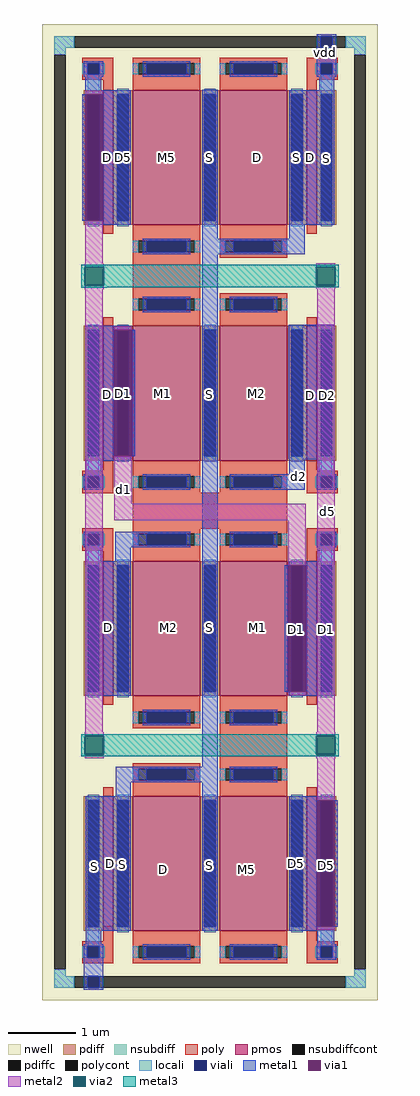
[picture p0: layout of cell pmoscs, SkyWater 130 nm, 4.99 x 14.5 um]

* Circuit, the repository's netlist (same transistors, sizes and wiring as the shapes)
** sch_path: /home/riff/mbkm-polytron/opamp/mag/pmoscs.sch
.subckt pmoscs VDD D5 D2 D1
*.PININFO VDD:B D5:B D2:B D1:B
XM5 D5 D2 VDD VDD sky130_fd_pr__pfet_01v8 L=1 W=2 nf=1 m=2
XM2 D2 D2 VDD VDD sky130_fd_pr__pfet_01v8 L=1 W=2 nf=1 m=2
XM1 D1 D2 VDD VDD sky130_fd_pr__pfet_01v8 L=1 W=2 nf=1 m=2
XM3 VDD VDD VDD VDD sky130_fd_pr__pfet_01v8 L=1 W=2 nf=1 m=2
XM4 VDD VDD VDD VDD sky130_fd_pr__pfet_01v8 L=0.15 W=2 nf=1 m=2
XM6 D1 D1 D1 VDD sky130_fd_pr__pfet_01v8 L=0.15 W=2 nf=1 m=2
XM7 D2 D2 D2 VDD sky130_fd_pr__pfet_01v8 L=0.15 W=2 nf=1 m=2
XM8 D5 D5 D5 VDD sky130_fd_pr__pfet_01v8 L=0.15 W=2 nf=1 m=2
.ends
.end

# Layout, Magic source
magic
tech sky130A
magscale 1 2
<< nwell >>
rect -178 -740 820 2160
<< nsubdiff >>
rect -142 2090 -82 2124
rect 724 2090 784 2124
rect -142 2068 -108 2090
rect 750 2068 784 2090
rect -142 -670 -108 -648
rect 750 -670 784 -648
rect -142 -704 -82 -670
rect 724 -704 784 -670
<< nsubdiffcont >>
rect -82 2090 724 2124
rect -142 -648 -108 2068
rect 750 -648 784 2068
rect -82 -704 724 -670
<< poly >>
rect -58 2044 34 2060
rect -58 2010 -42 2044
rect -8 2010 34 2044
rect -58 1994 34 2010
rect 4 1963 34 1994
rect 608 2044 700 2060
rect 608 2010 650 2044
rect 684 2010 700 2044
rect 608 1994 700 2010
rect 608 1969 638 1994
rect 92 1359 292 1467
rect 4 832 34 852
rect -58 816 34 832
rect -58 782 -42 816
rect -8 782 34 816
rect -58 766 34 782
rect 608 832 638 863
rect 608 816 700 832
rect 608 782 650 816
rect 684 782 700 816
rect 350 767 550 768
rect -58 645 34 661
rect 92 660 550 767
rect 608 766 700 782
rect 92 659 292 660
rect -58 611 -42 645
rect -8 611 34 645
rect -58 595 34 611
rect 4 564 34 595
rect 608 645 700 661
rect 608 611 650 645
rect 684 611 700 645
rect 608 595 700 611
rect 608 564 638 595
rect 350 -37 550 67
rect 4 -565 34 -520
rect -58 -581 34 -565
rect -58 -615 -42 -581
rect -8 -615 34 -581
rect -58 -631 34 -615
rect 608 -565 638 -560
rect 608 -581 700 -565
rect 608 -615 650 -581
rect 684 -615 700 -581
rect 608 -631 700 -615
<< polycont >>
rect -42 2010 -8 2044
rect 650 2010 684 2044
rect -42 782 -8 816
rect 650 782 684 816
rect -42 611 -8 645
rect 650 611 684 645
rect -42 -615 -8 -581
rect 650 -615 684 -581
<< locali >>
rect -142 2090 -82 2124
rect 724 2090 784 2124
rect -142 2068 -108 2090
rect 750 2068 784 2090
rect -58 2010 -42 2044
rect -8 2010 8 2044
rect 634 2010 650 2044
rect 684 2010 700 2044
rect -42 1963 -8 2010
rect 650 1966 684 2010
rect -42 816 -8 876
rect 650 816 684 863
rect -58 782 -42 816
rect -8 782 8 816
rect 634 782 650 816
rect 684 782 700 816
rect -58 611 -42 645
rect -8 611 8 645
rect 634 611 650 645
rect 684 611 700 645
rect -42 565 -8 611
rect 650 564 684 611
rect -42 -581 -8 -521
rect 650 -581 684 -535
rect -58 -615 -43 -581
rect -8 -615 8 -581
rect 634 -615 650 -581
rect 684 -615 700 -581
rect -142 -670 -108 -648
rect 750 -670 784 -648
rect -142 -704 -82 -670
rect 724 -704 784 -670
<< viali >>
rect 650 2090 684 2124
rect -42 2010 -8 2044
rect 650 2010 684 2044
rect -42 782 -8 816
rect 650 782 684 816
rect -42 611 -8 645
rect 650 611 684 645
rect -43 -615 -42 -581
rect -42 -615 -9 -581
rect 650 -615 684 -581
rect -42 -704 -8 -670
<< metal1 >>
rect 638 2124 696 2130
rect 638 2090 650 2124
rect 684 2090 696 2124
rect -54 2044 4 2050
rect -54 2010 -42 2044
rect -8 2010 4 2044
rect -54 2004 4 2010
rect 638 2044 696 2090
rect 638 2010 650 2044
rect 684 2010 696 2044
rect 638 2004 696 2010
rect -49 1963 -2 2004
rect -49 1951 86 1963
rect -59 1575 -49 1951
rect 3 1575 86 1951
rect -48 1563 86 1575
rect 298 1522 344 1964
rect 645 1963 690 2004
rect 556 1563 690 1963
rect 556 1522 602 1563
rect 298 1476 384 1522
rect 521 1476 602 1522
rect -48 1252 86 1263
rect -48 876 36 1252
rect 88 876 98 1252
rect -48 863 86 876
rect -48 822 -2 863
rect -54 816 4 822
rect -54 782 -42 816
rect -8 782 4 816
rect -54 776 4 782
rect -54 645 4 651
rect -54 611 -42 645
rect -8 611 4 645
rect -54 605 4 611
rect 39 605 121 651
rect -48 564 -2 605
rect 39 564 86 605
rect -48 164 86 564
rect 298 -47 344 1476
rect 555 868 689 1267
rect 556 867 689 868
rect 556 822 602 867
rect 644 822 690 863
rect 521 776 603 822
rect 638 816 696 822
rect 638 782 650 816
rect 684 782 696 816
rect 638 776 696 782
rect 638 645 696 651
rect 638 611 650 645
rect 684 611 696 645
rect 638 605 696 611
rect 644 564 690 605
rect 556 552 690 564
rect 543 176 553 552
rect 605 176 690 552
rect 556 164 690 176
rect 41 -93 121 -47
rect 258 -93 344 -47
rect 41 -134 85 -93
rect -48 -534 86 -134
rect 298 -534 344 -93
rect 556 -146 690 -134
rect 556 -522 639 -146
rect 691 -522 701 -146
rect 556 -534 690 -522
rect -48 -575 -2 -534
rect 639 -575 690 -534
rect -54 -581 4 -575
rect -54 -615 -43 -581
rect -9 -615 4 -581
rect -54 -670 4 -615
rect 638 -581 696 -575
rect 638 -615 650 -581
rect 684 -615 696 -581
rect 638 -621 696 -615
rect -54 -704 -42 -670
rect -8 -704 4 -670
rect -54 -710 4 -704
<< via1 >>
rect -49 1575 3 1951
rect 36 876 88 1252
rect 553 176 605 552
rect 639 -522 691 -146
<< metal2 >>
rect -49 1951 3 1961
rect -49 1448 3 1575
rect -51 1438 5 1448
rect -51 1372 5 1382
rect 637 1439 693 1449
rect 637 1373 693 1383
rect -49 55 3 1372
rect 36 1252 88 1262
rect 36 734 88 876
rect 36 686 605 734
rect 553 552 605 686
rect 553 166 605 176
rect 639 55 691 1373
rect -51 45 5 55
rect -51 -21 5 -11
rect 637 45 693 55
rect 637 -21 693 -11
rect 639 -146 691 -21
rect 639 -532 691 -522
<< via2 >>
rect -51 1382 5 1438
rect 637 1383 693 1439
rect -51 -11 5 45
rect 637 -11 693 45
<< metal3 >>
rect -61 1439 703 1444
rect -61 1438 637 1439
rect -61 1382 -51 1438
rect 5 1383 637 1438
rect 693 1383 703 1439
rect 5 1382 703 1383
rect -61 1378 703 1382
rect -61 1377 15 1378
rect -61 45 703 50
rect -61 -11 -51 45
rect 5 -11 637 45
rect 693 -11 703 45
rect -61 -16 703 -11
use sky130_fd_pr__pfet_01v8_2ZH9AN  sky130_fd_pr__pfet_01v8_2ZH9AN_0
transform 1 0 19 0 1 364
box -109 -262 109 262
use sky130_fd_pr__pfet_01v8_2ZH9AN  sky130_fd_pr__pfet_01v8_2ZH9AN_1
transform 1 0 623 0 1 1763
box -109 -262 109 262
use sky130_fd_pr__pfet_01v8_2ZH9AN  sky130_fd_pr__pfet_01v8_2ZH9AN_2
transform 1 0 623 0 1 1063
box -109 -262 109 262
use sky130_fd_pr__pfet_01v8_2ZH9AN  sky130_fd_pr__pfet_01v8_2ZH9AN_3
transform 1 0 623 0 1 364
box -109 -262 109 262
use sky130_fd_pr__pfet_01v8_2ZH9AN  sky130_fd_pr__pfet_01v8_2ZH9AN_4
transform 1 0 623 0 1 -334
box -109 -262 109 262
use sky130_fd_pr__pfet_01v8_2ZH9AN  sky130_fd_pr__pfet_01v8_2ZH9AN_5
transform 1 0 19 0 1 -334
box -109 -262 109 262
use sky130_fd_pr__pfet_01v8_2ZH9AN  sky130_fd_pr__pfet_01v8_2ZH9AN_6
transform 1 0 19 0 1 1063
box -109 -262 109 262
use sky130_fd_pr__pfet_01v8_2ZH9AN  sky130_fd_pr__pfet_01v8_2ZH9AN_7
transform 1 0 19 0 1 1763
box -109 -262 109 262
use sky130_fd_pr__pfet_01v8_SDE6B7  sky130_fd_pr__pfet_01v8_SDE6B7_0
transform 1 0 321 0 1 1763
box -323 -300 323 300
use sky130_fd_pr__pfet_01v8_SDE6B7  sky130_fd_pr__pfet_01v8_SDE6B7_1
transform 1 0 321 0 1 1063
box -323 -300 323 300
use sky130_fd_pr__pfet_01v8_SDE6B7  sky130_fd_pr__pfet_01v8_SDE6B7_2
transform 1 0 321 0 1 364
box -323 -300 323 300
use sky130_fd_pr__pfet_01v8_SDE6B7  sky130_fd_pr__pfet_01v8_SDE6B7_3
transform 1 0 321 0 1 -334
box -323 -300 323 300
<< labels >>
flabel metal1 584 816 584 816 0 FreeSans 480 0 0 0 d2
port 2 nsew
flabel metal2 64 776 64 776 0 FreeSans 480 0 0 0 d1
port 1 nsew
flabel metal1 664 2074 664 2074 0 FreeSans 480 0 0 0 vdd
port 0 nsew
flabel nwell 183 -351 183 -351 0 FreeSans 160 0 0 0 D
flabel nwell -23 -342 -23 -342 0 FreeSans 160 0 0 0 S
flabel nwell 61 -338 61 -338 0 FreeSans 160 0 0 0 S
flabel nwell 319 -339 319 -339 0 FreeSans 160 0 0 0 S
flabel nwell 428 -353 428 -353 0 FreeSans 160 0 0 0 M5
flabel nwell 578 -334 578 -334 0 FreeSans 160 0 0 0 D5
flabel nwell 667 -339 667 -339 0 FreeSans 160 0 0 0 D5
flabel nwell 666 361 666 361 0 FreeSans 160 0 0 0 D1
flabel nwell 578 362 578 362 0 FreeSans 160 0 0 0 D1
flabel nwell 463 367 463 367 0 FreeSans 160 0 0 0 M1
flabel nwell 320 367 320 367 0 FreeSans 160 0 0 0 S
flabel nwell 199 366 199 366 0 FreeSans 160 0 0 0 M2
flabel nwell 624 366 624 366 0 FreeSans 160 0 0 0 D
flabel nwell 623 -336 623 -336 0 FreeSans 160 0 0 0 D
flabel nwell 25 -333 25 -333 0 FreeSans 160 0 0 0 D
flabel nwell 19 366 19 366 0 FreeSans 160 0 0 0 D
flabel nwell 63 365 63 365 0 FreeSans 160 0 0 0 D2
flabel nwell -25 365 -25 365 0 FreeSans 160 0 0 0 D2
flabel nwell 621 1056 621 1056 0 FreeSans 160 0 0 0 D
flabel nwell 669 1056 669 1056 0 FreeSans 160 0 0 0 D2
flabel nwell 579 1060 579 1060 0 FreeSans 160 0 0 0 D2
flabel nwell 460 1063 460 1063 0 FreeSans 160 0 0 0 M2
flabel nwell 320 1060 320 1060 0 FreeSans 160 0 0 0 S
flabel nwell 181 1062 181 1062 0 FreeSans 160 0 0 0 M1
flabel nwell 63 1063 63 1063 0 FreeSans 160 0 0 0 D1
flabel nwell 17 1060 17 1060 0 FreeSans 160 0 0 0 D
flabel nwell -25 1063 -25 1063 0 FreeSans 160 0 0 0 D1
flabel nwell 667 1761 667 1761 0 FreeSans 160 0 0 0 S
flabel nwell 621 1762 621 1762 0 FreeSans 160 0 0 0 D
flabel nwell 579 1762 579 1762 0 FreeSans 160 0 0 0 S
flabel nwell 463 1762 463 1762 0 FreeSans 160 0 0 0 D
flabel nwell 320 1762 320 1762 0 FreeSans 160 0 0 0 S
flabel nwell 192 1762 192 1762 0 FreeSans 160 0 0 0 M5
flabel nwell 63 1763 63 1763 0 FreeSans 160 0 0 0 D5
flabel nwell 17 1762 17 1762 0 FreeSans 160 0 0 0 D
flabel nwell -25 1762 -25 1762 0 FreeSans 160 0 0 0 D5
flabel metal2 670 711 670 711 0 FreeSans 480 0 0 0 d5
port 3 nsew
<< end >>

# cell sky130_fd_pr__pfet_01v8_2ZH9AN: kit device sky130_fd_pr__pfet_01v8, w 2 l 0.15 m 1 nf 1 diffcov 100 polycov 100 guard 0 glc 1 grc 1 gtc 1 gbc 1 tbcov 100 rlcov 100 topc 0 botc 0 poverlap 0 doverlap 1 lmin 0.15 wmin 0.42 compatible {sky130_fd_pr__pfet_01v8 sky130_fd_pr__pfet_01v8_lvt sky130_fd_pr__pfet_01v8_hvt sky130_fd_pr__pfet_g5v0d10v5} full_metal 1 viasrc 100 viadrn 100 viagate 100 viagb 0 viagr 0 viagl 0 viagt 0

# cell sky130_fd_pr__pfet_01v8_SDE6B7: kit device sky130_fd_pr__pfet_01v8, w 2 l 1 m 1 nf 2 diffcov 100 polycov 100 guard 0 glc 1 grc 1 gtc 1 gbc 1 tbcov 100 rlcov 100 topc 1 botc 1 poverlap 0 doverlap 1 lmin 0.15 wmin 0.42 compatible {sky130_fd_pr__pfet_01v8 sky130_fd_pr__pfet_01v8_lvt sky130_fd_pr__pfet_01v8_hvt sky130_fd_pr__pfet_g5v0d10v5} full_metal 1 viasrc 100 viadrn 100 viagate 70 viagb 0 viagr 0 viagl 0 viagt 0
